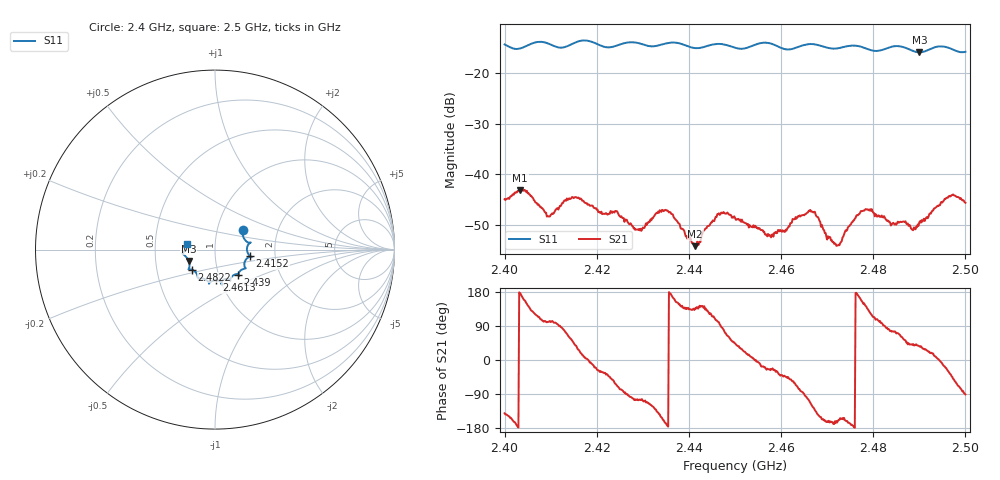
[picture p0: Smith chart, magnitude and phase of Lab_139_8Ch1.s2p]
# Hz S RI R 50
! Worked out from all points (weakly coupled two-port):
!   601 points, 2.4 GHz to 2.5 GHz, reference 50 ohm
!   highest |S21| = -43.07 dB at 2.4033 GHz (marker M1); lowest = -54.2 dB at 2.4413 GHz (marker M2)
!   lowest |S11| = -15.9 dB at 2.49 GHz (marker M3), VSWR 1.38, Z = 36.9 - j4.82 ohm
!   |S11| at or under -10 dB: start of sweep to end of sweep
!   S12 and S22 are empty: the file has one direction only
!   S11 on the Smith chart (normalised r, x): 2.4 GHz: 1.33, +0.31; 2.4152 GHz: 1.48, -0.11; 2.439 GHz: 1.24, -0.36; 2.4613 GHz: 0.96, -0.34; 2.4822 GHz: 0.76, -0.17; 2.5 GHz: 0.73, +0.05
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2.4e9  0.1554 0.1114  -0.0044 -0.0036  0 0  0 0
2.403333e9  0.1646 0.0574  -0.00701 0.000409  0 0  0 0
2.409667e9  0.1907 0.0346  -0.000789 0.00376  0 0  0 0
2.415167e9  0.1947 -0.0368  0.00445 0.00392  0 0  0 0
2.416667e9  0.2042 -0.0424  0.00543 0.00166  0 0  0 0
2.428833e9  0.1682 -0.1049  -0.000675 -0.00277  0 0  0 0
2.433333e9  0.1323 -0.1321  -0.00323 -0.00282  0 0  0 0
2.436e9  0.1347 -0.1467  -0.0042 0.000358  0 0  0 0
2.439e9  0.1284 -0.1388  -0.00206 0.00183  0 0  0 0
2.441333e9  0.1054 -0.1409  -0.00141 0.00135  0 0  0 0
2.446667e9  0.0858 -0.1735  -0.000312 0.00396  0 0  0 0
2.45e9  0.0691 -0.1637  0.00268 0.0026  0 0  0 0
2.457333e9  0.0396 -0.1936  0.00226 -0.00102  0 0  0 0
2.461333e9  0.0072 -0.1705  0.00198 -0.00213  0 0  0 0
2.466667e9  -0.0333 -0.1901  -0.00215 -0.00371  0 0  0 0
2.472167e9  -0.0676 -0.1612  -0.00192 -0.00051  0 0  0 0
2.477833e9  -0.0967 -0.1504  -0.00373 0.00228  0 0  0 0
2.482167e9  -0.1282 -0.112  -9.83e-05 0.00374  0 0  0 0
2.483333e9  -0.1395 -0.1103  0.000482 0.00338  0 0  0 0
2.49e9  -0.1467 -0.0636  0.00271 0.00198  0 0  0 0
2.496833e9  -0.1734 -0.0128  0.00478 -0.00377  0 0  0 0
2.5e9  -0.1584 0.0335  -7.46e-05 -0.00523  0 0  0 0
